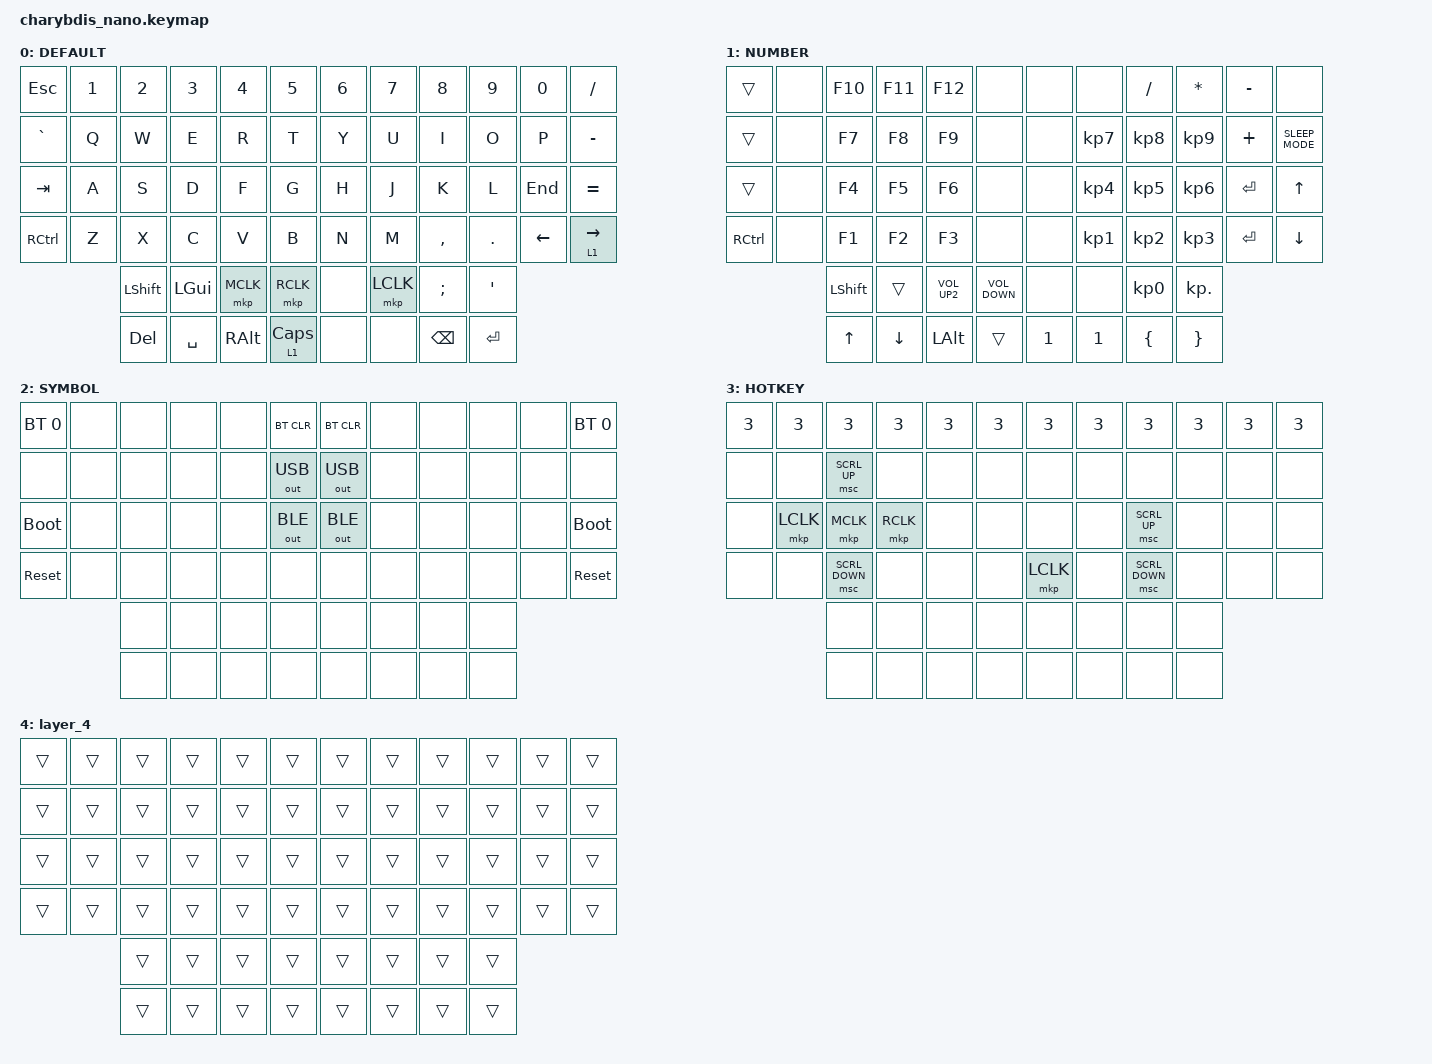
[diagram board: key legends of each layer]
#include <dt-bindings/zmk/mouse.h>
#include <behaviors.dtsi>
#include <dt-bindings/zmk/bt.h>
#include <dt-bindings/zmk/keys.h>
#include <dt-bindings/zmk/outputs.h>
#include <dt-bindings/zmk/pointing.h>
#include <dt-bindings/zmk/pointing.h>

#define DEFAULT 0
#define NUMBER  1
#define SYMBOL  2
#define HOTKEY  3

&lt {
    tapping-term-ms = <200>;
    flavor = "balanced";
    quick-tap-ms = <170>;
};

/ {
    behaviors {
        td0: tap_dance_0 {
            compatible = "zmk,behavior-tap-dance";
            label = "TAP_DANCE_0";
            #binding-cells = <0>;
            tapping-term-ms = <200>;
            bindings = <&kp ESC>, <&kp TAB>;
        };
    };

    macros {
        macro_phone: macro_phone {
            // 1351

            label = "MACRO_PHONE";
            compatible = "zmk,behavior-macro";
            #binding-cells = <0>;
            bindings = <&kp N1 &kp N3 &kp N5 &kp N1>;
        };
    };

    combos {
        compatible = "zmk,combos";

        combo_esc {
            timeout-ms = <50>;
            key-positions = <14 15>;
            bindings = <&mkp LCLK>;
        };

        combo_rgui {
            timeout-ms = <50>;
            key-positions = <26 27>;
            bindings = <&mkp MCLK>;
        };

        combo_LSHFT {
            timeout-ms = <50>;
            key-positions = <38 39>;
            bindings = <&mkp RCLK>;
        };

        combo_2 {
            timeout-ms = <50>;
            key-positions = <>;
            bindings = <&kp N2 >;
        };

        combo_GUI {
            timeout-ms = <50>;
            key-positions = <>;
            bindings = <&tog 1>;
        };
    };

    keymap {
        compatible = "zmk,keymap";

        default_layer {
            label = "DEFAULT";
            bindings = <
&kp ESC    &kp N1  &kp N2          &kp N3     &kp N4         &kp N5      &kp N6  &kp N7     &kp N8         &kp N9      &kp N0          &kp SLASH
&kp GRAVE  &kp Q   &kp W           &kp E      &kp R          &kp T       &kp Y   &kp U      &kp I          &kp O       &kp P           &kp MINUS
&kp TAB    &kp A   &kp S           &kp D      &kp F          &kp G       &kp H   &kp J      &kp K          &kp L       &kp END         &kp EQUAL
&kp RCTRL  &kp Z   &kp X           &kp C      &kp V          &kp B       &kp N   &kp M      &kp COMMA      &kp PERIOD  &kp LEFT_ARROW  &lt 1 RIGHT
                   &kp LEFT_SHIFT  &kp LGUI   &mkp MCLK      &mkp RCLK   &none   &mkp LCLK  &kp SEMICOLON  &kp SQT
                   &kp DEL         &kp SPACE  &kp RIGHT_ALT  &lt 1 CAPS  &none   &none      &kp BACKSPACE  &kp ENTER
            >;
        };

        number_layer {
            label = "NUMBER";
            bindings = <
&trans     &none  &kp F10         &kp F11         &kp F12        &none              &none   &none      &kp FSLH        &kp STAR         &kp MINUS  &none
&trans     &none  &kp F7          &kp F8          &kp F9         &none              &none   &kp KP_N7  &kp KP_N8       &kp KP_N9        &kp PLUS   &kp C_SLEEP_MODE
&trans     &none  &kp F4          &kp F5          &kp F6         &none              &none   &kp KP_N4  &kp KP_N5       &kp KP_N6        &kp ENTER  &kp UP_ARROW
&kp RCTRL  &none  &kp F1          &kp F2          &kp F3         &none              &none   &kp KP_N1  &kp KP_N2       &kp KP_N3        &kp ENTER  &kp DOWN
                  &kp LEFT_SHIFT  &trans          &kp K_VOL_UP2  &kp K_VOLUME_DOWN  &none   &none      &kp KP_N0       &kp KP_DOT
                  &kp UP          &kp DOWN_ARROW  &kp LEFT_ALT   &trans             &kp N1  &kp N1     &kp LEFT_BRACE  &kp RIGHT_BRACE
            >;
        };

        symbol_layer {
            label = "SYMBOL";
            bindings = <
&bt BT_SEL 0  &none  &none  &none  &none  &bt BT_CLR    &bt BT_CLR    &none  &none  &none  &none  &bt BT_SEL 0
&none         &none  &none  &none  &none  &out OUT_USB  &out OUT_USB  &none  &none  &none  &none  &none
&bootloader   &none  &none  &none  &none  &out OUT_BLE  &out OUT_BLE  &none  &none  &none  &none  &bootloader
&sys_reset    &none  &none  &none  &none  &none         &none         &none  &none  &none  &none  &sys_reset
                     &none  &none  &none  &none         &none         &none  &none  &none
                     &none  &none  &none  &none         &none         &none  &none  &none
            >;
        };

        hotkey_layer {
            label = "HOTKEY";
            bindings = <
&kp N3  &kp N3     &kp N3          &kp N3     &kp N3  &kp N3  &kp N3     &kp N3  &kp N3          &kp N3  &kp N3  &kp N3
&none   &none      &msc SCRL_UP    &none      &none   &none   &none      &none   &none           &none   &none   &none
&none   &mkp LCLK  &mkp MCLK       &mkp RCLK  &none   &none   &none      &none   &msc SCRL_UP    &none   &none   &none
&none   &none      &msc SCRL_DOWN  &none      &none   &none   &mkp LCLK  &none   &msc SCRL_DOWN  &none   &none   &none
                   &none           &none      &none   &none   &none      &none   &none           &none
                   &none           &none      &none   &none   &none      &none   &none           &none
            >;
        };

        layer_4 {
            bindings = <
&trans  &trans  &trans  &trans  &trans  &trans  &trans  &trans  &trans  &trans  &trans  &trans
&trans  &trans  &trans  &trans  &trans  &trans  &trans  &trans  &trans  &trans  &trans  &trans
&trans  &trans  &trans  &trans  &trans  &trans  &trans  &trans  &trans  &trans  &trans  &trans
&trans  &trans  &trans  &trans  &trans  &trans  &trans  &trans  &trans  &trans  &trans  &trans
                &trans  &trans  &trans  &trans  &trans  &trans  &trans  &trans
                &trans  &trans  &trans  &trans  &trans  &trans  &trans  &trans
            >;
        };
    };
};
